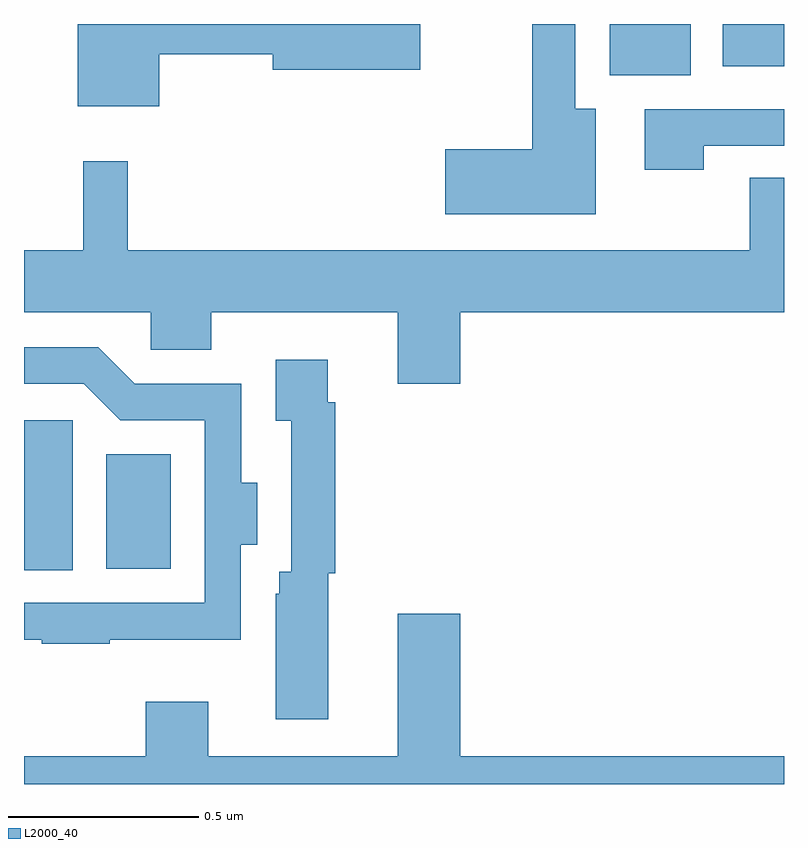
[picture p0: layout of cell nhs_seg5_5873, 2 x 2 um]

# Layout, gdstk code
import gdstk
lib = gdstk.Library(unit=1e-6, precision=1e-09)
def R(c, l, rs):  # rectangles x0, y0, x1, y1
    for r in rs: c.add(gdstk.rectangle(r[:2], r[2:], *l))
def P(c, l, *ps):  # polygons
    for p in ps: c.add(gdstk.Polygon(p, *l))
L2000_40 = (2000, 40)

nhs_seg5_5873 = lib.new_cell('nhs_seg5_5873')
R(nhs_seg5_5873, L2000_40, [(188,909.361,188.128,909.756), (188.216,909.365,188.386,909.667), (189.542,910.664,189.754,910.799), (189.839,910.688,190,910.799)])
P(nhs_seg5_5873, L2000_40, [(189.505,910.576),(189.451,910.576),(189.451,910.799),(189.338,910.799),(189.338,910.469),(189.108,910.469),(189.108,910.298),(189.505,910.298)],
  [(188.356,910.72),(188.654,910.72),(188.654,910.678),(189.043,910.678),(189.043,910.799),(188.141,910.799),(188.141,910.583),(188.356,910.583)],
  [(189.789,910.479),(190,910.479),(190,910.575),(189.633,910.575),(189.633,910.416),(189.789,910.416)],
  [(189.148,910.04),(190,910.04),(190,910.394),(189.91,910.394),(189.91,910.204),(188.273,910.204),(188.273,910.438),(188.156,910.438),(188.156,910.204),(188,910.204),(188,910.04),(188.334,910.04),(188.334,909.942),(188.493,909.942),(188.493,910.04),(188.984,910.04),(188.984,909.852),(189.148,909.852)],
  [(188.225,909.179),(188.571,909.179),(188.571,909.428),(188.614,909.428),(188.614,909.592),(188.572,909.592),(188.572,909.852),(188.292,909.852),(188.196,909.948),(188,909.948),(188,909.852),(188.157,909.852),(188.253,909.756),(188.475,909.756),(188.475,909.276),(188,909.276),(188,909.179),(188.047,909.179),(188.047,909.168),(188.225,909.168)],
  [(188.8,909.354),(188.819,909.354),(188.819,909.803),(188.799,909.803),(188.799,909.916),(188.663,909.916),(188.663,909.755),(188.703,909.755),(188.703,909.358),(188.672,909.358),(188.672,909.3),(188.663,909.3),(188.663,908.97),(188.8,908.97)],
  [(190,908.872),(189.148,908.872),(189.148,909.247),(188.984,909.247),(188.984,908.872),(188.485,908.872),(188.485,909.016),(188.321,909.016),(188.321,908.872),(188,908.872),(188,908.799),(190,908.799)])

lib.write_gds('nhs_seg5_5873.gds')
